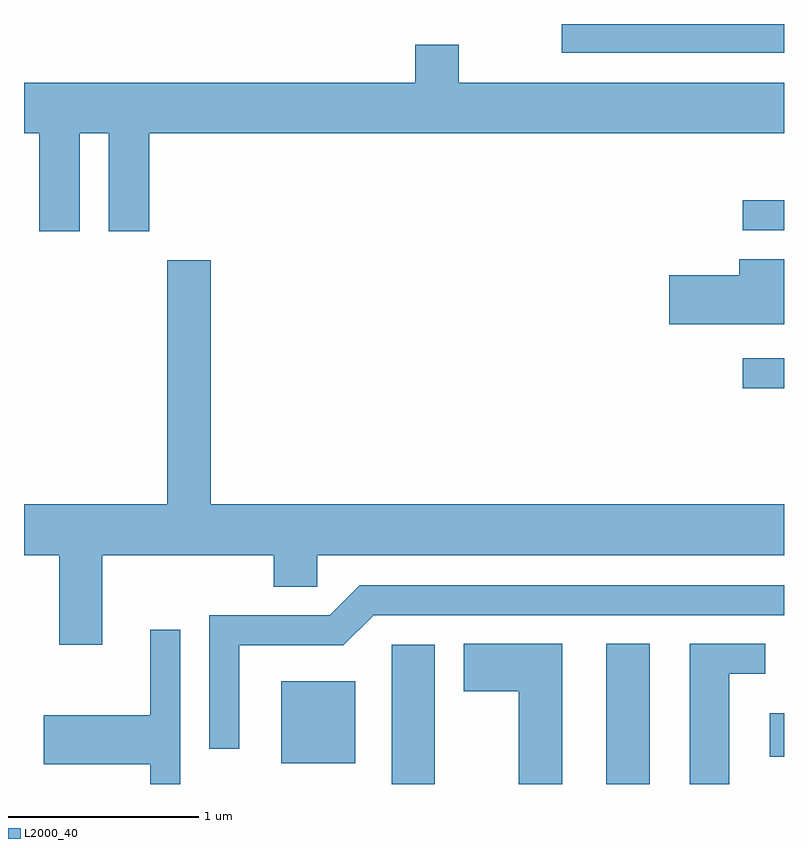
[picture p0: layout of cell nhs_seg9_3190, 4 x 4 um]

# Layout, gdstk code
import gdstk
lib = gdstk.Library(unit=1e-6, precision=1e-09)
def R(c, l, rs):  # rectangles x0, y0, x1, y1
    for r in rs: c.add(gdstk.rectangle(r[:2], r[2:], *l))
def P(c, l, *ps):  # polygons
    for p in ps: c.add(gdstk.Polygon(p, *l))
L2000_40 = (2000, 40)

nhs_seg9_3190 = lib.new_cell('nhs_seg9_3190')
R(nhs_seg9_3190, L2000_40, [(281.546,1948.432,281.774,1949.164), (282.676,1948.432,282.904,1949.169), (280.966,1948.541,281.354,1948.974), (283.536,1948.576,283.611,1948.804), (283.393,1950.516,283.611,1950.674), (283.393,1951.346,283.611,1951.504), (282.441,1952.281,283.611,1952.432)])
P(nhs_seg9_3190, L2000_40, [(279.904,1951.856),(280.056,1951.856),(280.056,1951.341),(280.269,1951.341),(280.269,1951.856),(283.611,1951.856),(283.611,1952.124),(281.899,1952.124),(281.899,1952.324),(281.671,1952.324),(281.671,1952.124),(279.611,1952.124),(279.611,1951.856),(279.691,1951.856),(279.691,1951.341),(279.904,1951.341)],
  [(283.611,1951.194),(283.376,1951.194),(283.376,1951.109),(283.006,1951.109),(283.006,1950.851),(283.611,1950.851)],
  [(280.024,1949.636),(280.926,1949.636),(280.926,1949.471),(281.154,1949.471),(281.154,1949.636),(283.611,1949.636),(283.611,1949.904),(280.594,1949.904),(280.594,1951.189),(280.366,1951.189),(280.366,1949.904),(279.611,1949.904),(279.611,1949.636),(279.796,1949.636),(279.796,1949.166),(280.024,1949.166)],
  [(280.744,1949.161),(281.292,1949.161),(281.452,1949.321),(283.611,1949.321),(283.611,1949.479),(281.379,1949.479),(281.219,1949.319),(280.586,1949.319),(280.586,1948.618),(280.744,1948.618)],
  [(280.434,1949.243),(280.276,1949.243),(280.276,1948.794),(279.716,1948.794),(279.716,1948.536),(280.276,1948.536),(280.276,1948.432),(280.434,1948.432)],
  [(282.444,1949.169),(281.926,1949.169),(281.926,1948.921),(282.216,1948.921),(282.216,1948.432),(282.444,1948.432)],
  [(283.324,1949.011),(283.513,1949.011),(283.513,1949.169),(283.116,1949.169),(283.116,1948.432),(283.324,1948.432)])

lib.write_gds('nhs_seg9_3190.gds')
